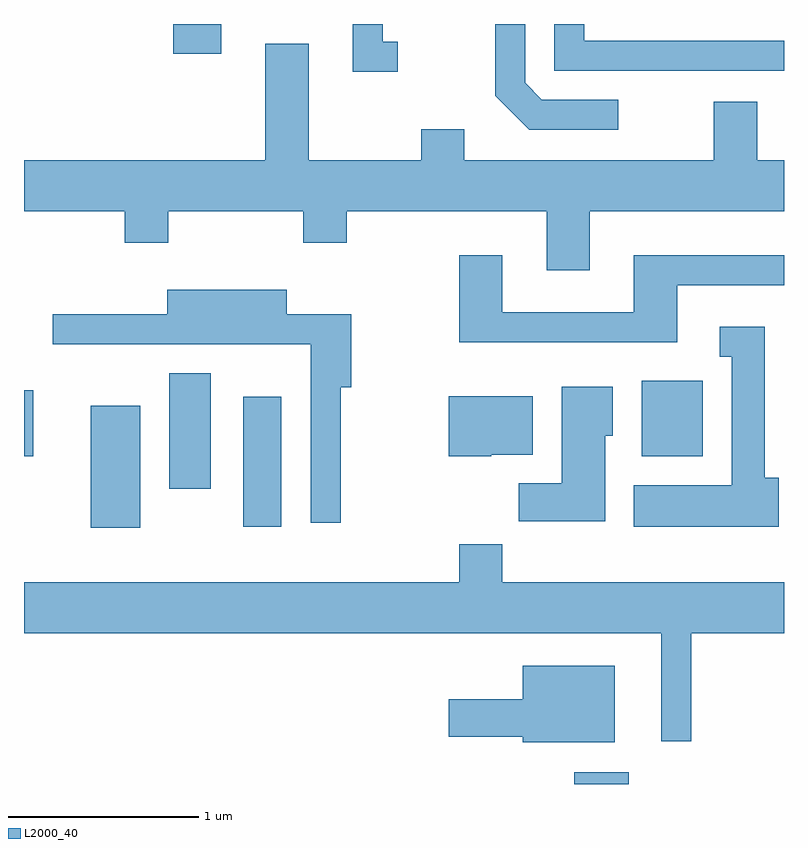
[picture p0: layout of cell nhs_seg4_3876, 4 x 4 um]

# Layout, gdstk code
import gdstk
lib = gdstk.Library(unit=1e-6, precision=1e-09)
def R(c, l, rs):  # rectangles x0, y0, x1, y1
    for r in rs: c.add(gdstk.rectangle(r[:2], r[2:], *l))
def P(c, l, *ps):  # polygons
    for p in ps: c.add(gdstk.Polygon(p, *l))
L2000_40 = (2000, 40)

nhs_seg4_3876 = lib.new_cell('nhs_seg4_3876')
R(nhs_seg4_3876, L2000_40, [(302.506,1253.982,302.794,1254.044), (299.961,1255.331,300.224,1255.974), (300.766,1255.336,300.964,1256.019), (300.376,1255.536,300.594,1256.144), (299.611,1255.706,299.659,1256.054), (302.861,1255.706,303.184,1256.104), (300.396,1257.826,300.649,1257.982)])
P(nhs_seg4_3876, L2000_40, [(301.578,1257.889),(301.499,1257.889),(301.499,1257.982),(301.341,1257.982),(301.341,1257.731),(301.578,1257.731)],
  [(303.611,1257.894),(302.559,1257.894),(302.559,1257.982),(302.401,1257.982),(302.401,1257.736),(303.611,1257.736)],
  [(302.738,1257.584),(302.337,1257.584),(302.249,1257.672),(302.249,1257.982),(302.091,1257.982),(302.091,1257.604),(302.269,1257.426),(302.738,1257.426)],
  [(302.589,1256.996),(303.611,1256.996),(303.611,1257.264),(303.469,1257.264),(303.469,1257.574),(303.241,1257.574),(303.241,1257.264),(301.929,1257.264),(301.929,1257.429),(301.701,1257.429),(301.701,1257.264),(301.109,1257.264),(301.109,1257.879),(300.881,1257.879),(300.881,1257.264),(299.611,1257.264),(299.611,1256.996),(300.141,1256.996),(300.141,1256.831),(300.369,1256.831),(300.369,1256.996),(301.081,1256.996),(301.081,1256.831),(301.309,1256.831),(301.309,1256.996),(302.361,1256.996),(302.361,1256.686),(302.589,1256.686)],
  [(303.049,1256.606),(303.611,1256.606),(303.611,1256.764),(302.821,1256.764),(302.821,1256.464),(302.129,1256.464),(302.129,1256.764),(301.901,1256.764),(301.901,1256.306),(303.049,1256.306)],
  [(301.279,1256.071),(301.334,1256.071),(301.334,1256.454),(300.994,1256.454),(300.994,1256.584),(300.366,1256.584),(300.366,1256.454),(299.763,1256.454),(299.763,1256.296),(301.121,1256.296),(301.121,1255.358),(301.279,1255.358)],
  [(303.584,1255.594),(303.509,1255.594),(303.509,1256.389),(303.273,1256.389),(303.273,1256.231),(303.336,1256.231),(303.336,1255.554),(302.821,1255.554),(302.821,1255.336),(303.584,1255.336)],
  [(302.669,1255.816),(302.709,1255.816),(302.709,1256.074),(302.441,1256.074),(302.441,1255.564),(302.216,1255.564),(302.216,1255.366),(302.669,1255.366)],
  [(302.07,1255.716),(302.289,1255.716),(302.289,1256.024),(301.846,1256.024),(301.846,1255.706),(302.07,1255.706)],
  [(303.124,1254.776),(303.611,1254.776),(303.611,1255.044),(302.129,1255.044),(302.129,1255.244),(301.901,1255.244),(301.901,1255.044),(299.611,1255.044),(299.611,1254.776),(302.966,1254.776),(302.966,1254.208),(303.124,1254.208)],
  [(302.719,1254.604),(302.236,1254.604),(302.236,1254.429),(301.846,1254.429),(301.846,1254.231),(302.236,1254.231),(302.236,1254.201),(302.719,1254.201)])

lib.write_gds('nhs_seg4_3876.gds')
